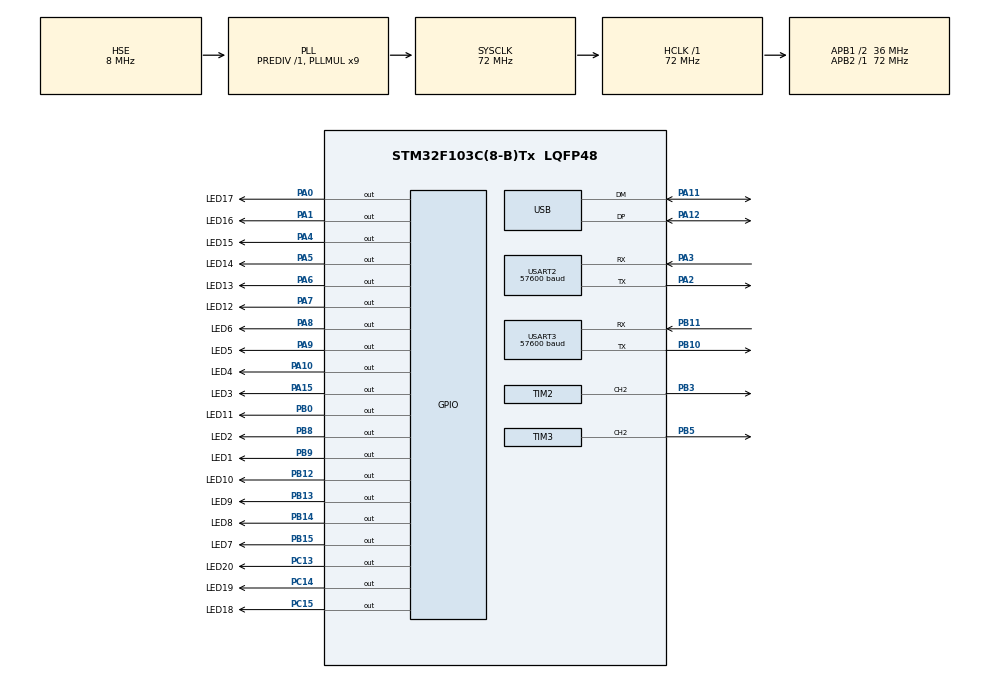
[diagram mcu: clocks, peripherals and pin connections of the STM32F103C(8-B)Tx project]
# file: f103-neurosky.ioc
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Dma.Request0=USART3_RX
Dma.Request1=USART2_RX
Dma.USART2_RX.1.Direction=DMA_PERIPH_TO_MEMORY
Dma.USART2_RX.1.Instance=DMA1_Channel6
Dma.USART2_RX.1.MemDataAlignment=DMA_MDATAALIGN_BYTE
Dma.USART2_RX.1.MemInc=DMA_MINC_ENABLE
Dma.USART2_RX.1.Mode=DMA_CIRCULAR
Dma.USART2_RX.1.PeriphDataAlignment=DMA_PDATAALIGN_BYTE
Dma.USART2_RX.1.PeriphInc=DMA_PINC_DISABLE
Dma.USART2_RX.1.Priority=DMA_PRIORITY_LOW
Dma.USART3_RX.0.Direction=DMA_PERIPH_TO_MEMORY
Dma.USART3_RX.0.Instance=DMA1_Channel3
Dma.USART3_RX.0.MemDataAlignment=DMA_MDATAALIGN_BYTE
Dma.USART3_RX.0.MemInc=DMA_MINC_ENABLE
Dma.USART3_RX.0.Mode=DMA_CIRCULAR
Dma.USART3_RX.0.PeriphDataAlignment=DMA_PDATAALIGN_BYTE
Dma.USART3_RX.0.PeriphInc=DMA_PINC_DISABLE
Dma.USART3_RX.0.Priority=DMA_PRIORITY_LOW
Mcu.Family=STM32F1
Mcu.Name=STM32F103C(8-B)Tx
Mcu.Package=LQFP48
NVIC.DMA1_Channel3_IRQn=true\:0\:0\:false\:false\:true\:false\:true\:true
NVIC.DMA1_Channel6_IRQn=true\:0\:0\:false\:false\:true\:false\:true\:true
NVIC.PriorityGroup=NVIC_PRIORITYGROUP_4
NVIC.USART2_IRQn=true\:0\:0\:false\:false\:true\:true\:true\:true
NVIC.USART3_IRQn=true\:0\:0\:false\:false\:true\:true\:true\:true
NVIC.USB_LP_CAN1_RX0_IRQn=true\:0\:0\:false\:false\:true\:false\:true\:true
PA0-WKUP.GPIO_Label=LED17
PA0-WKUP.Signal=GPIO_Output
PA1.GPIO_Label=LED16
PA1.Signal=GPIO_Output
PA10.GPIO_Label=LED4
PA10.Signal=GPIO_Output
PA11.Mode=Device
PA11.Signal=USB_DM
PA12.Mode=Device
PA12.Signal=USB_DP
PA13.Mode=Serial_Wire
PA13.Signal=SYS_JTMS-SWDIO
PA14.Mode=Serial_Wire
PA14.Signal=SYS_JTCK-SWCLK
PA15.GPIO_Label=LED3
PA15.Signal=GPIO_Output
PA2.Mode=Asynchronous
PA2.Signal=USART2_TX
PA3.Mode=Asynchronous
PA3.Signal=USART2_RX
PA4.GPIO_Label=LED15
PA4.Signal=GPIO_Output
PA5.GPIO_Label=LED14
PA5.Signal=GPIO_Output
PA6.GPIO_Label=LED13
PA6.Signal=GPIO_Output
PA7.GPIO_Label=LED12
PA7.Signal=GPIO_Output
PA8.GPIO_Label=LED6
PA8.Signal=GPIO_Output
PA9.GPIO_Label=LED5
PA9.Signal=GPIO_Output
PB0.GPIO_Label=LED11
PB0.Signal=GPIO_Output
PB10.Mode=Asynchronous
PB10.Signal=USART3_TX
PB11.Mode=Asynchronous
PB11.Signal=USART3_RX
PB12.GPIO_Label=LED10
PB12.Signal=GPIO_Output
PB13.GPIO_Label=LED9
PB13.Signal=GPIO_Output
PB14.GPIO_Label=LED8
PB14.Signal=GPIO_Output
PB15.GPIO_Label=LED7
PB15.Signal=GPIO_Output
PB3.Signal=S_TIM2_CH2
PB5.Signal=S_TIM3_CH2
PB8.GPIO_Label=LED2
PB8.Signal=GPIO_Output
PB9.GPIO_Label=LED1
PB9.Signal=GPIO_Output
PC13-TAMPER-RTC.GPIO_Label=LED20
PC13-TAMPER-RTC.Signal=GPIO_Output
PC14-OSC32_IN.GPIO_Label=LED19
PC14-OSC32_IN.Signal=GPIO_Output
PC15-OSC32_OUT.GPIO_Label=LED18
PC15-OSC32_OUT.Signal=GPIO_Output
PD0-OSC_IN.Mode=HSE-External-Oscillator
PD0-OSC_IN.Signal=RCC_OSC_IN
PD1-OSC_OUT.Mode=HSE-External-Oscillator
PD1-OSC_OUT.Signal=RCC_OSC_OUT
ProjectManager.HeapSize=0x200
ProjectManager.StackSize=0x400
ProjectManager.TargetToolchain=STM32CubeIDE
RCC.AHBFreq_Value=72000000
RCC.APB1CLKDivider=RCC_HCLK_DIV2
RCC.APB1Freq_Value=36000000
RCC.APB1TimFreq_Value=72000000
RCC.APB2Freq_Value=72000000
RCC.APB2TimFreq_Value=72000000
RCC.HCLKFreq_Value=72000000
RCC.PLLMUL=RCC_PLL_MUL9
RCC.SYSCLKFreq_VALUE=72000000
RCC.SYSCLKSource=RCC_SYSCLKSOURCE_PLLCLK
RCC.USBFreq_Value=48000000
RCC.USBPrescaler=RCC_USBCLKSOURCE_PLL_DIV1_5
SH.S_TIM2_CH2.0=TIM2_CH2,PWM Generation2 CH2
SH.S_TIM3_CH2.0=TIM3_CH2,PWM Generation2 CH2
TIM2.Channel-PWM\ Generation2\ CH2=TIM_CHANNEL_2
TIM2.Period=255
TIM2.Prescaler=281
TIM2.Pulse-PWM\ Generation2\ CH2=255
TIM3.Channel-PWM\ Generation2\ CH2=TIM_CHANNEL_2
TIM3.Period=255
TIM3.Prescaler=281
TIM3.Pulse-PWM\ Generation2\ CH2=255
USART2.BaudRate=57600
USART2.Mode=MODE_RX
USART2.VirtualMode=VM_ASYNC
USART3.BaudRate=57600
USART3.Mode=MODE_RX
USART3.VirtualMode=VM_ASYNC
USB_DEVICE.CLASS_NAME_FS=CDC
USB_DEVICE.VirtualMode=Cdc
USB_DEVICE.VirtualModeFS=Cdc_FS
VP_USB_DEVICE_VS_USB_DEVICE_CDC_FS.Mode=CDC_FS
board=custom

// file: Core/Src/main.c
/* USER CODE BEGIN Header */
/**
  ******************************************************************************
  * @file           : main.c
  * @brief          : Main program body
  ******************************************************************************
  * This notice applies to any and all portions of this file
  * that are not between comment pairs USER CODE BEGIN and
  * USER CODE END. Other portions of this file, whether
  * inserted by the user or by software development tools
  * are owned by their respective copyright owners.
  *
  * Copyright (c) 2019 STMicroelectronics International N.V.
  * All rights reserved.
  *
  * Redistribution and use in source and binary forms, with or without
  * modification, are permitted, provided that the following conditions are met:
  *
  * 1. Redistribution of source code must retain the above copyright notice,
  *    this list of conditions and the following disclaimer.
  * 2. Redistributions in binary form must reproduce the above copyright notice,
  *    this list of conditions and the following disclaimer in the documentation
  *    and/or other materials provided with the distribution.
  * 3. Neither the name of STMicroelectronics nor the names of other
  *    contributors to this software may be used to endorse or promote products
  *    derived from this software without specific written permission.
  * 4. This software, including modifications and/or derivative works of this
  *    software, must execute solely and exclusively on microcontroller or
  *    microprocessor devices manufactured by or for STMicroelectronics.
  * 5. Redistribution and use of this software other than as permitted under
  *    this license is void and will automatically terminate your rights under
  *    this license.
  *
  * THIS SOFTWARE IS PROVIDED BY STMICROELECTRONICS AND CONTRIBUTORS "AS IS"
  * AND ANY EXPRESS, IMPLIED OR STATUTORY WARRANTIES, INCLUDING, BUT NOT
  * LIMITED TO, THE IMPLIED WARRANTIES OF MERCHANTABILITY, FITNESS FOR A
  * PARTICULAR PURPOSE AND NON-INFRINGEMENT OF THIRD PARTY INTELLECTUAL PROPERTY
  * RIGHTS ARE DISCLAIMED TO THE FULLEST EXTENT PERMITTED BY LAW. IN NO EVENT
  * SHALL STMICROELECTRONICS OR CONTRIBUTORS BE LIABLE FOR ANY DIRECT, INDIRECT,
  * INCIDENTAL, SPECIAL, EXEMPLARY, OR CONSEQUENTIAL DAMAGES (INCLUDING, BUT NOT
  * LIMITED TO, PROCUREMENT OF SUBSTITUTE GOODS OR SERVICES; LOSS OF USE, DATA,
  * OR PROFITS; OR BUSINESS INTERRUPTION) HOWEVER CAUSED AND ON ANY THEORY OF
  * LIABILITY, WHETHER IN CONTRACT, STRICT LIABILITY, OR TORT (INCLUDING
  * NEGLIGENCE OR OTHERWISE) ARISING IN ANY WAY OUT OF THE USE OF THIS SOFTWARE,
  * EVEN IF ADVISED OF THE POSSIBILITY OF SUCH DAMAGE.
  *
  ******************************************************************************
  */
/* USER CODE END Header */
#include "main.h"
#include "usb_device.h"

/* USER CODE BEGIN Includes */
#include "usbd_cdc_if.h"
/* USER CODE END Includes */

 TIM_HandleTypeDef htim2;
TIM_HandleTypeDef htim3;

UART_HandleTypeDef huart2;
UART_HandleTypeDef huart3;
DMA_HandleTypeDef hdma_usart2_rx;
DMA_HandleTypeDef hdma_usart3_rx;

/* USER CODE BEGIN PV */
GPIO_TypeDef *LED_PORT2_NAMES[10] = {LED1_GPIO_Port, LED2_GPIO_Port, LED3_GPIO_Port, LED4_GPIO_Port, LED5_GPIO_Port,
										LED6_GPIO_Port, LED7_GPIO_Port, LED8_GPIO_Port, LED9_GPIO_Port, LED10_GPIO_Port};

//GPIO_TypeDef *LED_PORT1_NAMES[10] = {LED11_GPIO_Port, LED12_GPIO_Port, LED13_GPIO_Port, LED14_GPIO_Port, LED15_GPIO_Port,
//										LED16_GPIO_Port, LED17_GPIO_Port, LED18_GPIO_Port, LED19_GPIO_Port, LED20_GPIO_Port};

uint16_t LED_PINS_2[10] = {LED1_Pin, LED2_Pin, LED3_Pin, LED4_Pin, LED5_Pin,
		LED6_Pin, LED7_Pin, LED8_Pin, LED9_Pin, LED10_Pin};

//uint16_t LED_PINS_1[10] = {LED11_Pin, LED12_Pin, LED13_Pin, LED14_Pin, LED15_Pin,
//		LED16_Pin, LED17_Pin, LED18_Pin, LED19_Pin, LED20_Pin};

GPIO_TypeDef *LED_PORT1_NAMES[10] = {LED20_GPIO_Port, LED19_GPIO_Port, LED18_GPIO_Port, LED17_GPIO_Port, LED16_GPIO_Port,
										LED15_GPIO_Port, LED14_GPIO_Port, LED13_GPIO_Port, LED12_GPIO_Port, LED11_GPIO_Port};

uint16_t LED_PINS_1[10] = {LED20_Pin, LED19_Pin, LED18_Pin, LED17_Pin, LED16_Pin,
		LED15_Pin, LED14_Pin, LED13_Pin, LED12_Pin, LED11_Pin};

uint8_t pwm_lvl[10] = {0, 0, 100, 105, 110, 115, 120, 125, 130, 140};
/* USER CODE END PV */

void SystemClock_Config(void);
static void MX_GPIO_Init(void);
static void MX_DMA_Init(void);
static void MX_USART3_UART_Init(void);
static void MX_USART2_UART_Init(void);
static void MX_TIM3_Init(void);
static void MX_TIM2_Init(void);
/* USER CODE BEGIN PFP */
#define BUFF_SIZE 256
#define PAYLOAD_LEN 256

uint16_t buffCnt1 = 0, buffCnt2 = 0;
uint8_t payloadData1[BUFF_SIZE], payloadData2[BUFF_SIZE];
uint8_t pData1[BUFF_SIZE], pBuff1[BUFF_SIZE], pData2[BUFF_SIZE], pBuff2[BUFF_SIZE];
uint8_t poorQuality1 = 0, attention1 = 0, meditation1 = 0, bigPacket1 = 0, isDataRead1 = 0;
uint8_t poorQuality2 = 0, attention2 = 0, meditation2 = 0, bigPacket2 = 0, isDataRead2 = 0;

uint8_t llen;
char tt[128];
/* USER CODE END PFP */

/* USER CODE BEGIN 0 */
void HAL_UART_RxCpltCallback(UART_HandleTypeDef *huart)
{
	if(huart == &huart2)
	{
		if (isDataRead1 == 0)
		{
			for(int i = 0; i < BUFF_SIZE; i++)
			{
				pBuff1[i] = pData1[i];
			}

			isDataRead1 = 1;
		}
	}else if(huart == &huart3)
	{
		if (isDataRead2 == 0)
		{
			for(int i = 0; i < BUFF_SIZE; i++)
			{
				pBuff2[i] = pData2[i];
			}

			isDataRead2 = 1;
		}
	}
}

uint8_t ReadOneByteFromBuff1()
{
	uint8_t retVal = pBuff1[buffCnt1];
	buffCnt1++;
	if(buffCnt1 == PAYLOAD_LEN)
	{
		//HAL_UART_Receive_DMA(&huart4, pData1, BUFF_SIZE);
		buffCnt1 = 0;
		isDataRead1 = 0;
	}
	return retVal;
}

uint8_t ReadOneByteFromBuff2()
{
	uint8_t retVal = pBuff2[buffCnt2];
	buffCnt2++;
	if(buffCnt2 == PAYLOAD_LEN)
	{
		//HAL_UART_Receive_DMA(&huart5, pData2, BUFF_SIZE);
		buffCnt2 = 0;
		isDataRead2 = 0;
	}
	return retVal;
}
/* USER CODE END 0 */

int main(void)
{

  /* MCU Configuration--------------------------------------------------------*/

  /* Reset of all peripherals, Initializes the Flash interface and the Systick. */
  HAL_Init();

  /* Configure the system clock */
  SystemClock_Config();

  /* Initialize all configured peripherals */
  MX_GPIO_Init();
  MX_DMA_Init();
  MX_USB_DEVICE_Init();
  MX_USART3_UART_Init();
  MX_USART2_UART_Init();
  MX_TIM3_Init();
  MX_TIM2_Init();
  /* USER CODE BEGIN 2 */
  HAL_UART_Receive_DMA(&huart2, pData1, BUFF_SIZE);
  HAL_UART_Receive_DMA(&huart3, pData2, BUFF_SIZE);

  HAL_TIM_PWM_Start(&htim2, TIM_CHANNEL_2);
  HAL_TIM_PWM_Start(&htim3, TIM_CHANNEL_2);

  __HAL_TIM_SET_COMPARE(&htim2, TIM_CHANNEL_2, 0);
  __HAL_TIM_SET_COMPARE(&htim3, TIM_CHANNEL_2, 0);
  /* USER CODE END 2 */

  /* Infinite loop */
  /* USER CODE BEGIN WHILE */
  while (1)
  {

	  /*
	  while(1)
	  {
		  poorQuality1 = poorQuality2 = rand() % 100;
		  attention1 = attention2 = rand() % 100;
		  meditation1 = meditation2 = rand() % 100;
		  llen = sprintf(tt, "#|1|%u|%u|%u|\n\r", poorQuality1, attention1, meditation1);
		  CDC_Transmit_FS((uint8_t *)tt, llen);
		  HAL_Delay(1000);
		  llen = sprintf(tt, "#|2|%u|%u|%u|\n\r", poorQuality2, attention2, meditation2);
		  CDC_Transmit_FS((uint8_t *)tt, llen);
		  HAL_Delay(1000);
	  }*/

	  while(isDataRead1 == 0 && isDataRead2 == 0);

	  if(isDataRead1 == 1)
	  {
		  if(ReadOneByteFromBuff1() == 170)
		  {
			  if(ReadOneByteFromBuff1() == 170)
			  {
				  uint8_t payLen = ReadOneByteFromBuff1();
				  uint8_t mCheckSum = 0, genCheckSum = 0;
				  if(payLen > 169)
					  break;

				  for(int i = 0; i < payLen; i++)
				  {
					  payloadData1[i] = ReadOneByteFromBuff1();
					  genCheckSum += payloadData1[i];
				  }

				  mCheckSum = ReadOneByteFromBuff1();
				  genCheckSum = 255 - genCheckSum;

				  if(mCheckSum == genCheckSum)
				  {
					  poorQuality1 = 200;
					  attention1 = 0;
					  meditation1 = 0;
					  bigPacket1 = 0;

					  for(int i = 0; i < payLen; i++)
					  {
						  switch(payloadData1[i])
						  {
						  case 2:
							  i++;
							  poorQuality1 = payloadData1[i];
							  bigPacket1 = 1;
							  break;
						  case 3:
							  i++;
							  break;
						  case 4:
							  i++;
							  attention1 = payloadData1[i];
							  break;
						  case 5:
							  i++;
							  meditation1 = payloadData1[i];
							  break;
						  case 0x80:
							  i = i + 23;
							  break;
						  case 0x83:
							  i = i + 25;
							  break;
						  default:
							  break;
						  }
					  }

					  if(bigPacket1 == 1)
					  {
						  //isDataRead = 0;
						  //llen = sprintf(tt, "1 Poor: %u, Att: %u, Med: %u\n\r", poorQuality1, attention1, meditation1);
						  llen = sprintf(tt, "#|1|%u|%u|%u|\n\r", poorQuality1, attention1, meditation1);
						  CDC_Transmit_FS((uint8_t *)tt, llen);

						  if(poorQuality1 == 0)
						  {
							  uint8_t max_lvl = attention1 / 10;
							  max_lvl = max_lvl > 9 ? 9 : max_lvl;
							  __HAL_TIM_SET_COMPARE(&htim2, TIM_CHANNEL_2, pwm_lvl[max_lvl]);

							  for(int i = 0; i < max_lvl; i++)
							  {
								  LED_PORT1_NAMES[i]->BSRR = LED_PINS_1[i];
							  }

							  for(int i = max_lvl; i < LED_COUNT; i++)
							  {
								  LED_PORT1_NAMES[i]->BRR = LED_PINS_1[i];
							  }

						  }else
						  {
							  __HAL_TIM_SET_COMPARE(&htim2, TIM_CHANNEL_2, 0);

							  for(int i = 0; i < LED_COUNT; i++)
							  {
								  LED_PORT1_NAMES[i]->BRR = LED_PINS_1[i];
							  }
						  }
					  }else{

					  }

				  }

			  }
		  }

	  }

	  if(isDataRead2 == 1)
	  {
		  if(ReadOneByteFromBuff2() == 170)
		  {
			  if(ReadOneByteFromBuff2() == 170)
			  {
				  uint8_t payLen = ReadOneByteFromBuff2();
				  uint8_t mCheckSum = 0, genCheckSum = 0;
				  if(payLen > 169)
					  break;

				  for(int i = 0; i < payLen; i++)
				  {
					  payloadData2[i] = ReadOneByteFromBuff2();
					  genCheckSum += payloadData2[i];
				  }

				  mCheckSum = ReadOneByteFromBuff2();
				  genCheckSum = 255 - genCheckSum;

				  if(mCheckSum == genCheckSum)
				  {
					  poorQuality2 = 200;
					  attention2 = 0;
					  meditation2 = 0;
					  bigPacket2 = 0;

					  for(int i = 0; i < payLen; i++)
					  {
						  switch(payloadData2[i])
						  {
						  case 2:
							  i++;
							  poorQuality2 = payloadData2[i];
							  bigPacket2 = 1;
							  break;
						  case 3:
							  i++;
							  break;
						  case 4:
							  i++;
							  attention2 = payloadData2[i];
							  break;
						  case 5:
							  i++;
							  meditation2 = payloadData2[i];
							  break;
						  case 0x80:
							  i = i + 23;
							  break;
						  case 0x83:
							  i = i + 25;
							  break;
						  default:
							  break;
						  }
					  }

					  if(bigPacket2 == 1)
					  {
						  //isDataRead = 0;
						  //llen = sprintf(tt, "2 Poor: %u, Att: %u, Med: %u\n\r", poorQuality2, attention2, meditation2);
						  llen = sprintf(tt, "#|2|%u|%u|%u|\n\r", poorQuality2, attention2, meditation2);
						  CDC_Transmit_FS((uint8_t *)tt, llen);

						  if(poorQuality2 == 0)
						  {
							  uint8_t max_lvl = attention2 / 10;
							  max_lvl = max_lvl > 9 ? 9 : max_lvl;
							  __HAL_TIM_SET_COMPARE(&htim3, TIM_CHANNEL_2, pwm_lvl[max_lvl]);

							  for(int i = 0; i < max_lvl; i++)
							  {
								  LED_PORT2_NAMES[i]->BSRR = LED_PINS_2[i];
							  }

							  for(int i = max_lvl; i < LED_COUNT; i++)
							  {
								  LED_PORT2_NAMES[i]->BRR = LED_PINS_2[i];
							  }
						  }else{
							  __HAL_TIM_SET_COMPARE(&htim3, TIM_CHANNEL_2, 0);

							  for(int i = 0; i < LED_COUNT; i++)
							  {
								  LED_PORT2_NAMES[i]->BRR = LED_PINS_2[i];
							  }
						  }

						  bigPacket2 = 0;
					  }else{

					  }

				  }

			  }
		  }
	  }
    /* USER CODE END WHILE */

  }
}

void SystemClock_Config(void)
{
  RCC_OscInitTypeDef RCC_OscInitStruct = {0};
  RCC_ClkInitTypeDef RCC_ClkInitStruct = {0};
  RCC_PeriphCLKInitTypeDef PeriphClkInit = {0};

  /** Initializes the RCC Oscillators according to the specified parameters
  * in the RCC_OscInitTypeDef structure.
  */
  RCC_OscInitStruct.OscillatorType = RCC_OSCILLATORTYPE_HSE;
  RCC_OscInitStruct.HSEState = RCC_HSE_ON;
  RCC_OscInitStruct.HSEPredivValue = RCC_HSE_PREDIV_DIV1;
  RCC_OscInitStruct.HSIState = RCC_HSI_ON;
  RCC_OscInitStruct.PLL.PLLState = RCC_PLL_ON;
  RCC_OscInitStruct.PLL.PLLSource = RCC_PLLSOURCE_HSE;
  RCC_OscInitStruct.PLL.PLLMUL = RCC_PLL_MUL9;
  if (HAL_RCC_OscConfig(&RCC_OscInitStruct) != HAL_OK)
  {
    Error_Handler();
  }

  /** Initializes the CPU, AHB and APB buses clocks
  */
  RCC_ClkInitStruct.ClockType = RCC_CLOCKTYPE_HCLK|RCC_CLOCKTYPE_SYSCLK
                              |RCC_CLOCKTYPE_PCLK1|RCC_CLOCKTYPE_PCLK2;
  RCC_ClkInitStruct.SYSCLKSource = RCC_SYSCLKSOURCE_PLLCLK;
  RCC_ClkInitStruct.AHBCLKDivider = RCC_SYSCLK_DIV1;
  RCC_ClkInitStruct.APB1CLKDivider = RCC_HCLK_DIV2;
  RCC_ClkInitStruct.APB2CLKDivider = RCC_HCLK_DIV1;

  if (HAL_RCC_ClockConfig(&RCC_ClkInitStruct, FLASH_LATENCY_2) != HAL_OK)
  {
    Error_Handler();
  }
  PeriphClkInit.PeriphClockSelection = RCC_PERIPHCLK_USB;
  PeriphClkInit.UsbClockSelection = RCC_USBCLKSOURCE_PLL_DIV1_5;
  if (HAL_RCCEx_PeriphCLKConfig(&PeriphClkInit) != HAL_OK)
  {
    Error_Handler();
  }
}

static void MX_TIM2_Init(void)
{

  TIM_MasterConfigTypeDef sMasterConfig = {0};
  TIM_OC_InitTypeDef sConfigOC = {0};

  htim2.Instance = TIM2;
  htim2.Init.Prescaler = 281;
  htim2.Init.CounterMode = TIM_COUNTERMODE_UP;
  htim2.Init.Period = 255;
  htim2.Init.ClockDivision = TIM_CLOCKDIVISION_DIV1;
  htim2.Init.AutoReloadPreload = TIM_AUTORELOAD_PRELOAD_DISABLE;
  if (HAL_TIM_PWM_Init(&htim2) != HAL_OK)
  {
    Error_Handler();
  }
  sMasterConfig.MasterOutputTrigger = TIM_TRGO_RESET;
  sMasterConfig.MasterSlaveMode = TIM_MASTERSLAVEMODE_DISABLE;
  if (HAL_TIMEx_MasterConfigSynchronization(&htim2, &sMasterConfig) != HAL_OK)
  {
    Error_Handler();
  }
  sConfigOC.OCMode = TIM_OCMODE_PWM1;
  sConfigOC.Pulse = 255;
  sConfigOC.OCPolarity = TIM_OCPOLARITY_HIGH;
  sConfigOC.OCFastMode = TIM_OCFAST_DISABLE;
  if (HAL_TIM_PWM_ConfigChannel(&htim2, &sConfigOC, TIM_CHANNEL_2) != HAL_OK)
  {
    Error_Handler();
  }
  HAL_TIM_MspPostInit(&htim2);

}

static void MX_TIM3_Init(void)
{

  TIM_MasterConfigTypeDef sMasterConfig = {0};
  TIM_OC_InitTypeDef sConfigOC = {0};

  htim3.Instance = TIM3;
  htim3.Init.Prescaler = 281;
  htim3.Init.CounterMode = TIM_COUNTERMODE_UP;
  htim3.Init.Period = 255;
  htim3.Init.ClockDivision = TIM_CLOCKDIVISION_DIV1;
  htim3.Init.AutoReloadPreload = TIM_AUTORELOAD_PRELOAD_DISABLE;
  if (HAL_TIM_PWM_Init(&htim3) != HAL_OK)
  {
    Error_Handler();
  }
  sMasterConfig.MasterOutputTrigger = TIM_TRGO_RESET;
  sMasterConfig.MasterSlaveMode = TIM_MASTERSLAVEMODE_DISABLE;
  if (HAL_TIMEx_MasterConfigSynchronization(&htim3, &sMasterConfig) != HAL_OK)
  {
    Error_Handler();
  }
  sConfigOC.OCMode = TIM_OCMODE_PWM1;
  sConfigOC.Pulse = 255;
  sConfigOC.OCPolarity = TIM_OCPOLARITY_HIGH;
  sConfigOC.OCFastMode = TIM_OCFAST_DISABLE;
  if (HAL_TIM_PWM_ConfigChannel(&htim3, &sConfigOC, TIM_CHANNEL_2) != HAL_OK)
  {
    Error_Handler();
  }
  HAL_TIM_MspPostInit(&htim3);

}

static void MX_USART2_UART_Init(void)
{

  huart2.Instance = USART2;
  huart2.Init.BaudRate = 57600;
  huart2.Init.WordLength = UART_WORDLENGTH_8B;
  huart2.Init.StopBits = UART_STOPBITS_1;
  huart2.Init.Parity = UART_PARITY_NONE;
  huart2.Init.Mode = UART_MODE_RX;
  huart2.Init.HwFlowCtl = UART_HWCONTROL_NONE;
  huart2.Init.OverSampling = UART_OVERSAMPLING_16;
  if (HAL_UART_Init(&huart2) != HAL_OK)
  {
    Error_Handler();
  }

}

static void MX_USART3_UART_Init(void)
{

  huart3.Instance = USART3;
  huart3.Init.BaudRate = 57600;
  huart3.Init.WordLength = UART_WORDLENGTH_8B;
  huart3.Init.StopBits = UART_STOPBITS_1;
  huart3.Init.Parity = UART_PARITY_NONE;
  huart3.Init.Mode = UART_MODE_RX;
  huart3.Init.HwFlowCtl = UART_HWCONTROL_NONE;
  huart3.Init.OverSampling = UART_OVERSAMPLING_16;
  if (HAL_UART_Init(&huart3) != HAL_OK)
  {
    Error_Handler();
  }

}

static void MX_DMA_Init(void)
{

  /* DMA controller clock enable */
  __HAL_RCC_DMA1_CLK_ENABLE();

  /* DMA interrupt init */
  /* DMA1_Channel3_IRQn interrupt configuration */
  HAL_NVIC_SetPriority(DMA1_Channel3_IRQn, 0, 0);
  HAL_NVIC_EnableIRQ(DMA1_Channel3_IRQn);
  /* DMA1_Channel6_IRQn interrupt configuration */
  HAL_NVIC_SetPriority(DMA1_Channel6_IRQn, 0, 0);
  HAL_NVIC_EnableIRQ(DMA1_Channel6_IRQn);

}

static void MX_GPIO_Init(void)
{
  GPIO_InitTypeDef GPIO_InitStruct = {0};

  /* GPIO Ports Clock Enable */
  __HAL_RCC_GPIOC_CLK_ENABLE();
  __HAL_RCC_GPIOD_CLK_ENABLE();
  __HAL_RCC_GPIOA_CLK_ENABLE();
  __HAL_RCC_GPIOB_CLK_ENABLE();

  /*Configure GPIO pin Output Level */
  HAL_GPIO_WritePin(GPIOC, LED20_Pin|LED19_Pin|LED18_Pin, GPIO_PIN_RESET);

  /*Configure GPIO pin Output Level */
  HAL_GPIO_WritePin(GPIOA, LED17_Pin|LED16_Pin|LED15_Pin|LED14_Pin
                          |LED13_Pin|LED12_Pin|LED6_Pin|LED5_Pin
                          |LED4_Pin|LED3_Pin, GPIO_PIN_RESET);

  /*Configure GPIO pin Output Level */
  HAL_GPIO_WritePin(GPIOB, LED11_Pin|LED10_Pin|LED9_Pin|LED8_Pin
                          |LED7_Pin|LED2_Pin|LED1_Pin, GPIO_PIN_RESET);

  /*Configure GPIO pins : LED20_Pin LED19_Pin LED18_Pin */
  GPIO_InitStruct.Pin = LED20_Pin|LED19_Pin|LED18_Pin;
  GPIO_InitStruct.Mode = GPIO_MODE_OUTPUT_PP;
  GPIO_InitStruct.Pull = GPIO_NOPULL;
  GPIO_InitStruct.Speed = GPIO_SPEED_FREQ_LOW;
  HAL_GPIO_Init(GPIOC, &GPIO_InitStruct);

  /*Configure GPIO pins : LED17_Pin LED16_Pin LED15_Pin LED14_Pin
                           LED13_Pin LED12_Pin LED6_Pin LED5_Pin
                           LED4_Pin LED3_Pin */
  GPIO_InitStruct.Pin = LED17_Pin|LED16_Pin|LED15_Pin|LED14_Pin
                          |LED13_Pin|LED12_Pin|LED6_Pin|LED5_Pin
                          |LED4_Pin|LED3_Pin;
  GPIO_InitStruct.Mode = GPIO_MODE_OUTPUT_PP;
  GPIO_InitStruct.Pull = GPIO_NOPULL;
  GPIO_InitStruct.Speed = GPIO_SPEED_FREQ_LOW;
  HAL_GPIO_Init(GPIOA, &GPIO_InitStruct);

  /*Configure GPIO pins : LED11_Pin LED10_Pin LED9_Pin LED8_Pin
                           LED7_Pin LED2_Pin LED1_Pin */
  GPIO_InitStruct.Pin = LED11_Pin|LED10_Pin|LED9_Pin|LED8_Pin
                          |LED7_Pin|LED2_Pin|LED1_Pin;
  GPIO_InitStruct.Mode = GPIO_MODE_OUTPUT_PP;
  GPIO_InitStruct.Pull = GPIO_NOPULL;
  GPIO_InitStruct.Speed = GPIO_SPEED_FREQ_LOW;
  HAL_GPIO_Init(GPIOB, &GPIO_InitStruct);

}

void Error_Handler(void)
{
}
